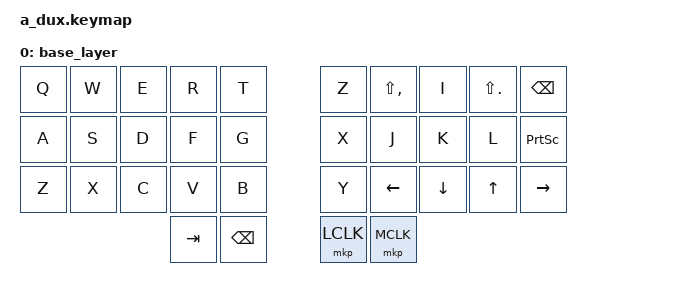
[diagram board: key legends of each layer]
/*
 * Copyright (c) 2021 The ZMK Contributors
 *
 * SPDX-License-Identifier: MIT
 */

#include <behaviors.dtsi>
#include <dt-bindings/zmk/keys.h>

/ {

    keymap {
        compatible = "zmk,keymap";

        // This is a sample keymap intended to be replaced with your own
        base_layer {
            bindings = <
                &kp Q     &kp W     &kp E     &kp R     &kp T     &kp Z     &kp LS(COMMA)     &kp I     &kp LS(DOT)     &kp BSPC
                &kp A     &kp S     &kp D     &kp F     &kp G     &kp X     &kp J             &kp K     &kp L           &kp PSCRN
                &kp Z     &kp X     &kp C     &kp V     &kp B     &kp Y     &kp LEFT          &kp DOWN  &kp UP          &kp RIGHT
                                              &kp TAB   &kp BSPC  &mkp LCLK &mkp MCLK
            >;
        };

    };
};
